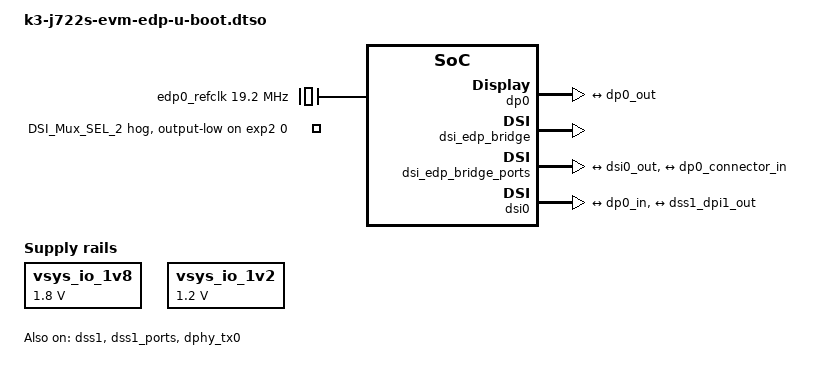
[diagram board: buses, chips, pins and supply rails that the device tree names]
// SPDX-License-Identifier: GPL-2.0
/*
 * TI SN65DSI86 DSI-to-eDP bridge U-Boot overlay for J722S EVM
 * Copyright (C) 2026 Texas Instruments Incorporated - https://www.ti.com/
 */

/ {
	edp0_refclk: clock-edp0-refclk {
		bootph-all;
		#clock-cells = <0>;
		compatible = "fixed-clock";
		clock-frequency = <19200000>;
	};

	vsys_io_1v8: regulator-vsys-io-1v8 {
		bootph-all;
		compatible = "regulator-fixed";
		regulator-name = "vsys_io_1v8";
		regulator-min-microvolt = <1800000>;
		regulator-max-microvolt = <1800000>;
		regulator-always-on;
		regulator-boot-on;
	};

	vsys_io_1v2: regulator-vsys-io-1v2 {
		bootph-all;
		compatible = "regulator-fixed";
		regulator-name = "vsys_io_1v2";
		regulator-min-microvolt = <1200000>;
		regulator-max-microvolt = <1200000>;
		regulator-always-on;
		regulator-boot-on;
	};

};

&dss1 {
	bootph-all;
	status = "okay";
	/delete-property/ pinctrl-names;
	/delete-property/ pinctrl-0;
};

&dss1_ports {
	bootph-all;
	status = "okay";
	/* VP1: DSI output to dsi0 */
	port@1 {
		bootph-all;
		dss1_dpi1_out: endpoint {
			bootph-all;
			remote-endpoint = <&dsi0_in>;
		};
	};
};

&dp0_pwr_3v3 {
	bootph-all;
};

&dp0 {
	bootph-all;
	dp-pwr-supply = <&dp0_pwr_3v3>;

	ports {
		bootph-all;
		#address-cells = <1>;
		#size-cells = <0>;

		port@0 {
			bootph-all;
			reg = <0>;
			endpoint {
				bootph-all;
				remote-endpoint = <&dp0_out>;
			};
		};
	};
};

&main_i2c1 {
	bootph-all;
};

&exp2 {
	bootph-all;
	/delete-property/ pinctrl-names;
	/delete-property/ pinctrl-0;
	p00-hog {
		bootph-all;
		gpio-hog;
		gpios = <0 GPIO_ACTIVE_HIGH>;
		output-low;
		line-name = "DSI_Mux_SEL_2";
	};
};

&dsi_edp_bridge {
	bootph-all;
	status = "okay";
	clock-names = "refclk";
	clocks = <&edp0_refclk>;
	enable-gpios = <&exp2 1 GPIO_ACTIVE_HIGH>;
	vpll-supply = <&vsys_io_1v8>;
	vccio-supply = <&vsys_io_1v8>;
	vcca-supply = <&vsys_io_1v2>;
	vcc-supply = <&vsys_io_1v2>;
};

&dsi_edp_bridge_ports {
	bootph-all;
	status = "okay";
	port@0 {
		bootph-all;
		dp0_in: endpoint {
			bootph-all;
			remote-endpoint = <&dsi0_out>;
			data-lanes = <0 1>;
		};
	};

	port@1 {
		bootph-all;
		dp0_out: endpoint {
			bootph-all;
			remote-endpoint = <&dp0_connector_in>;
			data-lanes = <0 1 2 3>;
			lane-polarities = <0 0 0 0>;
		};
	};
};

&dphy_tx0 {
	bootph-all;
	status = "okay";
};

&dsi0 {
	bootph-all;
	status = "okay";

	ports {
		bootph-all;
		#address-cells = <1>;
		#size-cells = <0>;

		port@0 {
			reg = <0>;
			bootph-all;
			dsi0_out: endpoint {
				bootph-all;
				remote-endpoint = <&dp0_in>;
			};
		};

		port@1 {
			reg = <1>;
			bootph-all;
			dsi0_in: endpoint {
				bootph-all;
				remote-endpoint = <&dss1_dpi1_out>;
			};
		};
	};
};
